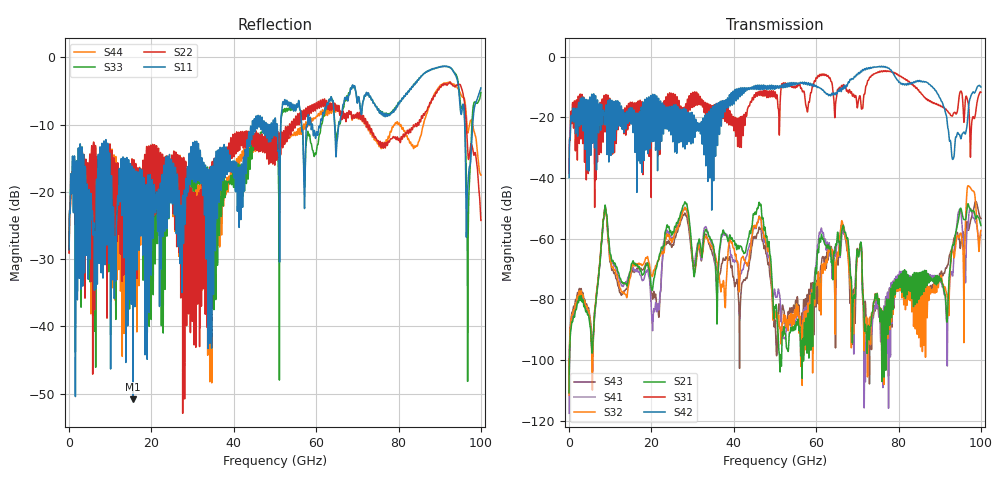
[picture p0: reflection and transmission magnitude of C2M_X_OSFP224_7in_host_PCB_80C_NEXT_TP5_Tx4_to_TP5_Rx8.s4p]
# GHz S RI R 45
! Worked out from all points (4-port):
!   4000 points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, 25 MHz to 100 GHz, reference 45 ohm
!   strongest paths, dB at 25 MHz, 25.02 GHz, 50.02 GHz, 75.03 GHz, 100 GHz:
!     S42: -39.8, -16.9, -10.4, -3.3, -9.9
!     S31: -38.4, -15.7, -11.5, -5.0, -11.6
!     S21: -110.8, -58.5, -82.6, -81.4, -55.6
!     S32: -111.6, -60.9, -84.4, -81.4, -57.3
!     S41: -117.6, -60.2, -77.7, -80.7, -58.9
!     S43: -108.0, -62.6, -86.9, -80.8, -53.4
!   lowest |S11| = -50.8 dB at 15.55 GHz (marker M1), VSWR 1.01, Z = 45.1 + j0.253 ohm
!   |S11| at or under -10 dB: start of sweep to 44.48 GHz; 59.1 GHz to 61.02 GHz (1.918 GHz wide, 3.19 % of centre); 96.08 GHz to 98 GHz (1.927 GHz wide, 1.99 % of centre)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
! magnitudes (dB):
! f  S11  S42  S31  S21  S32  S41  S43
! 25 MHz  -28.6  -39.8  -38.4  -110.8  -111.6  -117.6  -108.0
! 8.725 GHz  -30.8  -21.4  -23.9  -49.1  -49.3  -49.3  -49.5
! 15.55 GHz  -50.8  -24.9  -20.4  -67.3  -68.2  -69.4  -70.2
! 46.17 GHz  -10.3  -10.2  -12.7  -47.9  -52.6  -52.4  -56.2
! 86.1 GHz  -2.5  -8.1  -13.0  -75.1  -80.1  -72.7  -84.5
! 93.2 GHz  -2.0  -33.8  -19.1  -62.0  -63.9  -71.9  -62.0
! 100 GHz  -4.6  -9.9  -11.6  -55.6  -57.3  -58.9  -53.4
